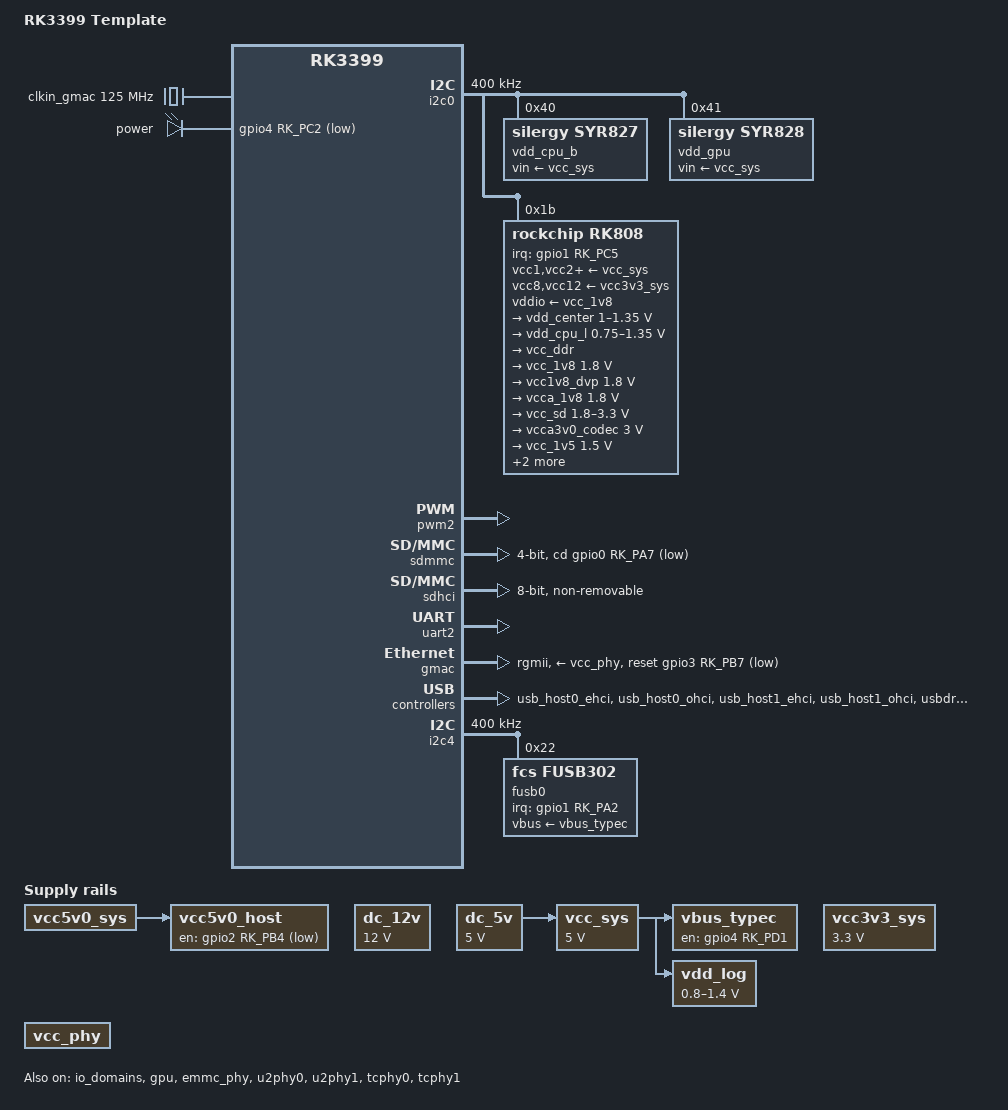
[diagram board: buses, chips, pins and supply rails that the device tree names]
// minimal dts configuration for rk3399
// include cpu, gpu, usb, sdmmc, sdhci, usb2, usb3, type-c

// SPDX-License-Identifier: (GPL-2.0+ OR MIT)
/dts-v1/;

#include <dt-bindings/pwm/pwm.h>
#include <dt-bindings/input/input.h>
#include <dt-bindings/interrupt-controller/irq.h>
#include "rk3399.dtsi"
#include "rk3399-opp.dtsi"
// TODO

/ {
	model = "RK3399 Template";
	compatible = "rockchip,rk3399";

	aliases {
		mmc0 = &sdmmc;
		mmc1 = &sdhci;
	};

	chosen {
		stdout-path = "serial2:1500000n8";
	};

	clkin_gmac: external-gmac-clock {
		compatible = "fixed-clock";
		clock-frequency = <125000000>;
		clock-output-names = "clkin_gmac";
		#clock-cells = <0>;
	};

	// Power settings
	// TODO: optional
	dc_12v: dc-12v {
		compatible = "regulator-fixed";
		regulator-name = "dc_12v";
		regulator-min-microvolt = <12000000>;
		regulator-max-microvolt = <12000000>;
		regulator-always-on;
		regulator-boot-on;
	};

	dc_5v: dc-5v {
		compatible = "regulator-fixed";
		regulator-name = "dc_5v";
		regulator-min-microvolt = <5000000>;
		regulator-max-microvolt = <5000000>;
		regulator-always-on;
		regulator-boot-on;
	};

	vcc_sys: vcc-sys {
		compatible = "regulator-fixed";
		regulator-name = "vcc_sys";
		regulator-min-microvolt = <5000000>;
		regulator-max-microvolt = <5000000>;
		regulator-always-on;
		vin-supply = <&dc_5v>;
	};

	vcc5v0_host: vcc5v0-host-regulator {
		compatible = "regulator-fixed";
		regulator-name = "vcc5v0_host";
		pinctrl-names = "default";
		pinctrl-0 = <&vcc5v0_host_en>;
		gpio = <&gpio2 RK_PB4 GPIO_ACTIVE_LOW>; // TODO:
		vin-supply = <&vcc5v0_sys>;
	};

	vcc3v3_sys: vcc3v3-sys {
		compatible = "regulator-fixed";
		regulator-name = "vcc3v3_sys";
		regulator-min-microvolt = <3300000>;
		regulator-max-microvolt = <3300000>;
		regulator-always-on;
		regulator-boot-on;
	};

	// for type-c
	vbus_typec: vbus-typec-regulator {
		compatible = "regulator-fixed";
		regulator-name = "vbus_typec";
		enable-active-high;
		pinctrl-names = "default";
		pinctrl-0 = <&vcc5v0_typec_en>;
		gpio = <&gpio4 RK_PD1 GPIO_ACTIVE_HIGH>; // TODO
		vin-supply = <&vcc_sys>; // TODO
	};

	vdd_log: vdd-log { // TODO
		compatible = "pwm-regulator";
		regulator-name = "vdd_log";
		regulator-min-microvolt = <800000>;
		regulator-max-microvolt = <1400000>;
		regulator-always-on;
		regulator-boot-on;
		pwms = <&pwm2 0 25000 1>;
		pwm-supply = <&vcc_sys>;
	};

	vcc_phy: vcc-phy-regulator {
		compatible = "regulator-fixed";
		regulator-name = "vcc_phy";
		regulator-always-on;
		regulator-boot-on;
	};

	// LED settings
	leds {
		compatible = "gpio-leds";
		pinctrl-names = "default";
		pinctrl-0 = <&power_led_pin>;

		power_led: power-led {
			label = "power";
			default-state = "on";
			linux,default-trigger = "default-on";
			gpios = <&gpio4 RK_PC2 GPIO_ACTIVE_LOW>; // TODO
		};
	};

};

&pinctrl {
	// TODO: optional, depend on &gmac
/*
	gmac {
		rgmii_sleep_pins: rgmii-sleep-pins {
			rockchip,pins =<3 RK_PB7 RK_FUNC_GPIO &pcfg_output_low>; // seems reserved
		};
	};
*/

	pmic {
		cpu_b_sleep: cpu-b-sleep {
			rockchip,pins = <1 RK_PC1 RK_FUNC_GPIO &pcfg_pull_down>; // seems reserved
		};
		gpu_sleep: gpu-sleep {
			rockchip,pins = <1 RK_PB6 RK_FUNC_GPIO &pcfg_pull_down>; // seems reserved
		};
		pmic_int_l: pmic-int-l {
			rockchip,pins =
				<1 RK_PC5 RK_FUNC_GPIO &pcfg_pull_up>; // seems reserved
		};
	};

	usb {
		// TODO, optional
		vcc5v0_host_en: vcc5v0-host-en {
			rockchip,pins = <2 RK_PB4 RK_FUNC_GPIO &pcfg_pull_none>; // TODO
		};
		vcc5v0_typec_en: vcc5v0-typec-en {
			rockchip,pins = <4 RK_PD1 RK_FUNC_GPIO &pcfg_pull_none>; // TODO
		};
		// ...
	};

	// TODO, type-c
	fusb302 {
		fusb0_int: fusb0-int {
			rockchip,pins = <1 RK_PA2 RK_FUNC_GPIO &pcfg_pull_up>; // seems reserved
		};
	};

	leds {
		power_led_pin: power-led-pin {
			// TODO: led
			rockchip,pins = <4 RK_PC2 RK_FUNC_GPIO &pcfg_pull_none>;
		};
	};
};

// -------------------- Power System -----------------------------------------
// i2c@ff3c0000
&i2c0 {
    clock-frequency = <400000>;
	i2c-scl-rising-time-ns = <180>; // TODO:
	i2c-scl-falling-time-ns = <30>; // TODO:
    status = "okay";

	vdd_cpu_b: regulator@40 {
		compatible = "silergy,syr827";
		reg = <0x40>;
		fcs,suspend-voltage-selector = <1>;
		// regulator-compatible = "fan53555-reg"; // TODO: optional,
		pinctrl-names = "default";
		pinctrl-0 = <&cpu_b_sleep>;
		regulator-name = "vdd_cpu_b";
		regulator-min-microvolt = <712500>;
		regulator-max-microvolt = <1500000>;
		regulator-ramp-delay = <1000>;
		regulator-always-on;
		regulator-boot-on;
		vin-supply = <&vcc_sys>;

		regulator-state-mem {
			regulator-off-in-suspend;
		};
	};

	vdd_gpu: regulator@41 {
		compatible = "silergy,syr828";
		reg = <0x41>;
		fcs,suspend-voltage-selector = <1>;
		// regulator-compatible = "fan53555-reg"; // TODO: optional
		pinctrl-names = "default";
		pinctrl-0 = <&gpu_sleep>;
		regulator-name = "vdd_gpu";
		regulator-min-microvolt = <712500>;
		regulator-max-microvolt = <1500000>;
		regulator-ramp-delay = <1000>;
		regulator-always-on;
		regulator-boot-on;
		vin-supply = <&vcc_sys>;

		regulator-state-mem {
			regulator-off-in-suspend;
		};
	};

	rk808: pmic@1b {
		compatible = "rockchip,rk808";
		reg = <0x1b>;
		interrupt-parent = <&gpio1>;
		interrupts = <RK_PC5 IRQ_TYPE_LEVEL_LOW>; // seems reserved
		pinctrl-names = "default";
		pinctrl-0 = <&pmic_int_l>; // seems reserved
		rockchip,system-power-controller;
		wakeup-source;
		#clock-cells = <1>;
		clock-output-names = "xin32k", "rtc_clko_wifi"; // TODO

		// TODO
		vcc1-supply  = <&vcc_sys>;
		vcc2-supply  = <&vcc_sys>;
		vcc3-supply  = <&vcc_sys>;
		vcc4-supply  = <&vcc_sys>;
		vcc6-supply  = <&vcc_sys>;
		vcc7-supply  = <&vcc_sys>;
		vcc8-supply  = <&vcc3v3_sys>;
		vcc9-supply  = <&vcc_sys>;
		vcc10-supply = <&vcc_sys>;
		vcc11-supply = <&vcc_sys>;
		vcc12-supply = <&vcc3v3_sys>;
		vddio-supply = <&vcc_1v8>;

		// TODO:
		regulators {
			vdd_center: DCDC_REG1 {
				regulator-name = "vdd_center";
				regulator-min-microvolt = <1000000>;
				regulator-max-microvolt = <1350000>;
				regulator-ramp-delay = <6001>;
				regulator-always-on;
				regulator-boot-on;
				regulator-state-mem {
					regulator-off-in-suspend;
				};
			};

			vdd_cpu_l: DCDC_REG2 {
				regulator-name = "vdd_cpu_l";
				regulator-min-microvolt = <750000>;
				regulator-max-microvolt = <1350000>;
				regulator-ramp-delay = <6001>;
				regulator-always-on;
				regulator-boot-on;
				regulator-state-mem {
					regulator-off-in-suspend;
				};
			};

			vcc_ddr: DCDC_REG3 {
				regulator-name = "vcc_ddr";
				regulator-always-on;
				regulator-boot-on;
				regulator-state-mem {
					regulator-on-in-suspend;
				};
			};

			vcc_1v8: DCDC_REG4 {
				regulator-name = "vcc_1v8";
				regulator-min-microvolt = <1800000>;
				regulator-max-microvolt = <1800000>;
				regulator-always-on;
				regulator-boot-on;
				regulator-state-mem {
					regulator-on-in-suspend;
					regulator-suspend-microvolt = <1800000>;
				};
			};

			vcc1v8_dvp: LDO_REG1 {
				regulator-name = "vcc1v8_dvp";
				regulator-min-microvolt = <1800000>;
				regulator-max-microvolt = <1800000>;
				regulator-always-on;
				regulator-boot-on;
				regulator-state-mem {
					regulator-off-in-suspend;
				};
			};

			// in hdmi.dts
			// vcca1v8_hdmi: LDO_REG2 {

			vcca_1v8: LDO_REG3 {
				regulator-name = "vcca_1v8";
				regulator-min-microvolt = <1800000>;
				regulator-max-microvolt = <1800000>;
				regulator-always-on;
				regulator-boot-on;
				regulator-state-mem {
					regulator-on-in-suspend;
					regulator-suspend-microvolt = <1800000>;
				};
			};

			vcc_sd: LDO_REG4 {
				regulator-name = "vcc_sd";
				regulator-min-microvolt = <1800000>;
				regulator-max-microvolt = <3300000>;
				regulator-always-on;
				regulator-boot-on;
				regulator-state-mem {
					regulator-on-in-suspend;
					regulator-suspend-microvolt = <3300000>;
				};
			};

			vcca3v0_codec: LDO_REG5 {
				regulator-name = "vcca3v0_codec";
				regulator-min-microvolt = <3000000>;
				regulator-max-microvolt = <3000000>;
				regulator-always-on;
				regulator-boot-on;
				regulator-state-mem {
					regulator-off-in-suspend;
				};
			};

			vcc_1v5: LDO_REG6 {
				regulator-name = "vcc_1v5";
				regulator-min-microvolt = <1500000>;
				regulator-max-microvolt = <1500000>;
				regulator-always-on;
				regulator-boot-on;
				regulator-state-mem {
					regulator-on-in-suspend;
					regulator-suspend-microvolt = <1500000>;
				};
			};

			// in hdmi.dts
			// vcca0v9_hdmi: LDO_REG7 {

			vcc_3v0: LDO_REG8 {
				regulator-name = "vcc_3v0";
				regulator-min-microvolt = <3000000>;
				regulator-max-microvolt = <3000000>;
				regulator-always-on;
				regulator-boot-on;
				regulator-state-mem {
					regulator-on-in-suspend;
					regulator-suspend-microvolt = <3000000>;
				};
			};

			vcc3v3_s3: SWITCH_REG1 {
				regulator-name = "vcc3v3_s3";
				regulator-always-on;
				regulator-boot-on;
				regulator-state-mem {
					regulator-off-in-suspend;
				};
			};

			vcc3v3_s0: SWITCH_REG2 {
				regulator-name = "vcc3v3_s0";
				regulator-always-on;
				regulator-boot-on;
				regulator-state-mem {
					regulator-on-in-suspend;
				};
			};
		};
	};
};

&io_domains {
	status = "okay";
	// TODO: ...
};

// -------------------- CPU/GPU ----------------------------------------------
// cpu@0
&cpu_l0 {
	cpu-supply = <&vdd_cpu_l>;
};

// cpu@1
&cpu_l1 {
	cpu-supply = <&vdd_cpu_l>;
};

// cpu@2
&cpu_l2 {
	cpu-supply = <&vdd_cpu_l>;
};

// cpu@3
&cpu_l3 {
	cpu-supply = <&vdd_cpu_l>;
};

// cpu@100
&cpu_b0 {
	cpu-supply = <&vdd_cpu_b>;
};

// cpu@101
&cpu_b1 {
	cpu-supply = <&vdd_cpu_b>;
};

&gpu {
	mali-supply = <&vdd_gpu>;
	status = "okay";
};

// vdd_log
&pwm2 {
	status = "okay";
};

// -------------------- SDMMC and SDHCI --------------------------------------
// on-board emmc
// mmc@fe320000
&sdmmc {
	bus-width = <4>;
	cap-sd-highspeed;
	sd-uhs-sdr104;
	// clock-frequency = <1500000>;
	max-frequency = <150000000>;
	pinctrl-names = "default";
	cd-gpios = <&gpio0 RK_PA7 GPIO_ACTIVE_LOW>; // seems reserved
	pinctrl-0 = <&sdmmc_clk &sdmmc_cd &sdmmc_cmd &sdmmc_bus4>; // TODO: is the order matter?
	vqmmc-supply = <&vcc_sd>; // TODO:
	// ...

	status = "okay";
};
// emmc_phy: phy@f780 {
&emmc_phy {
	status = "okay";
};


// tf card
// mmc@fe330000
&sdhci {
	bus-width = <8>;
	mmc-hs400-1_8v;
	mmc-hs400-enhanced-strobe;
	non-removable;
	// keep-power-in-suspend;

	status = "okay";
};

// -------------------- UART -------------------------------------------------
// used for ttl output by default
// serial@ff1a0000
&uart2 {
	status = "okay";
};

// -------------------- Ethernet ---------------------------------------------
// default
// gmac: ethernet@fe300000 {
&gmac {
	assigned-clocks = <&cru SCLK_RMII_SRC>;
	assigned-clock-parents = <&clkin_gmac>;
	clock_in_out = "input";
	phy-supply = <&vcc_phy>;
	phy-mode = "rgmii";
	pinctrl-names = "default";
	pinctrl-0 = <&rgmii_pins>;
	// pinctrl-1 = <&rgmii_sleep_pins>; // TODO
	snps,reset-gpio = <&gpio3 RK_PB7 GPIO_ACTIVE_LOW>; // seems reserved
	snps,reset-active-low;
	snps,reset-delays-us = <0 10000 50000>;
	tx_delay = <0x2a>; // TODO
	rx_delay = <0x21>; // TODO
	status = "okay";
};
/*
// rtl 8211e
&gmac {
	assigned-clocks = <&cru SCLK_RMII_SRC>;
	assigned-clock-parents = <&clkin_gmac>;
	clock_in_out = "input";
	phy-supply = <&vcc_phy>;
	phy-mode = "rgmii";
	phy-handle = <&rtl8211e>;
	pinctrl-names = "default";
	pinctrl-0 = <&rgmii_pins>, <&phy_intb>, <&phy_rstb>;
	tx_delay = <0x28>;
	rx_delay = <0x11>;
	status = "okay";

	mdio {
		compatible = "snps,dwmac-mdio";
		#address-cells = <1>;
		#size-cells = <0>;

		rtl8211e: ethernet-phy@1 {
			reg = <1>;
			interrupt-parent = <&gpio3>;
			interrupts = <RK_PB2 IRQ_TYPE_LEVEL_LOW>;
			reset-assert-us = <10000>;
			reset-deassert-us = <30000>;
			reset-gpios = <&gpio3 RK_PB7 GPIO_ACTIVE_LOW>;
		};
	};
};
*/

// -------------------- USB and Type-C ---------------------------------------

// u2phy0: usb2phy@e450 {
&u2phy0 {
	status = "okay";

	u2phy0_otg: otg-port {
		// phy-supply = <&vbus_typec>; // TODO, if type-c is otg
		status = "okay";
	};

	u2phy0_host: host-port {
		phy-supply = <&vcc5v0_host>; // TODO
		status = "okay";
	};

};

// u2phy1: usb2phy@e460 {
&u2phy1 {
	status = "okay";

	u2phy1_otg: otg-port {
		status = "okay";
	};

	u2phy1_host: host-port {
		phy-supply = <&vcc5v0_host>; // TODO
		status = "okay";
	};
};


// usb@fe380000
&usb_host0_ehci {
	status = "okay";
};

// usb@fe3a0000
&usb_host0_ohci {
	status = "okay";
};

// usb@fe3c0000
&usb_host1_ehci {
	status = "okay";
};

// usb@fe3e0000
&usb_host1_ohci {
	status = "okay";
};

// usb@fe800000
&usbdrd3_0 {
	status = "okay";

	usbdrd_dwc3_0 {
		status = "okay";
		dr_mode = "host";
	};
};

// usb@fe900000
&usbdrd3_1 {
	status = "okay";

	usbdrd_dwc3_1 {
		status = "okay";
		dr_mode = "host";
	};
};

// ----------------------------type-c----------------------------------
// tcphy0: phy@ff7c0000 {
&tcphy0 {
	status = "okay";

	// optional
/*
	tcphy0_dp: dp-port {
	};

	tcphy0_usb3: usb3-port {
	};
*/
};

// tcphy1: phy@ff800000 {
&tcphy1 {
	status = "okay";

	// optional
/*
	tcphy0_dp: dp-port {
	};

	tcphy0_usb3: usb3-port {
	};
*/
};

// for type-c
&i2c4 {
	clock-frequency = <400000>;
	i2c-scl-rising-time-ns = <450>; // TODO
	i2c-scl-falling-time-ns = <15>;
	status = "okay";

	// fusb302@22 {
	fusb0: typec-portc@22 {
		compatible = "fcs,fusb302";
		reg = <0x22>;
		pinctrl-names = "default";
		interrupt-parent = <&gpio1>;
		interrupts = <RK_PA2 IRQ_TYPE_LEVEL_LOW>; // seems reserved
		pinctrl-0 = <&fusb0_int>;
		vbus-supply = <&vbus_typec>;
		status = "okay";
		// ...
	};
};
